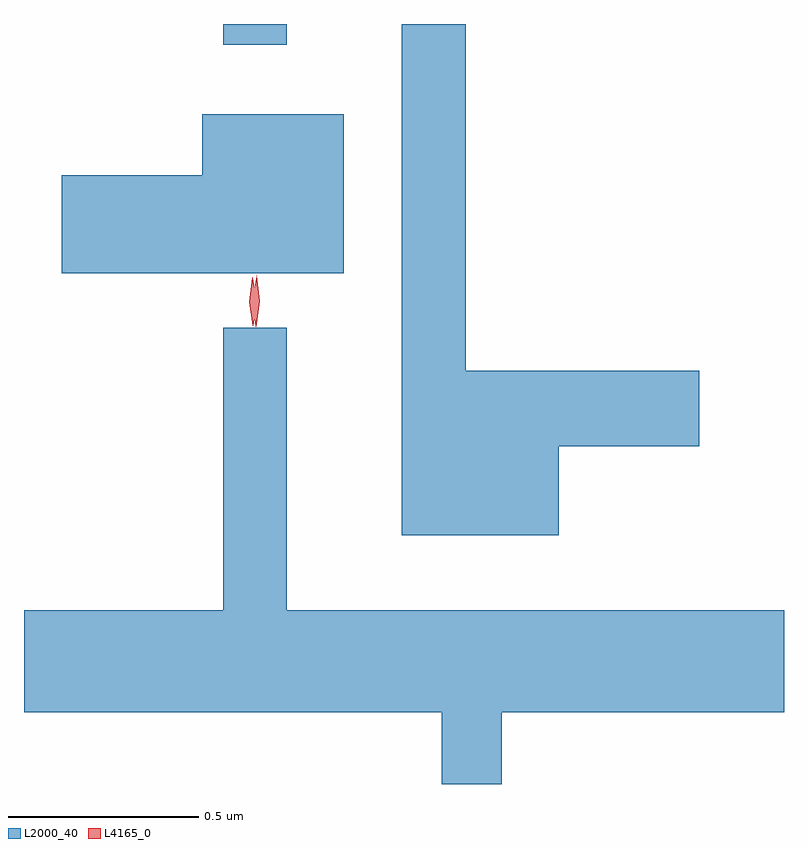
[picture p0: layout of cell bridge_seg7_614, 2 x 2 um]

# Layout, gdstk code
import gdstk
lib = gdstk.Library(unit=1e-6, precision=1e-09)
def R(c, l, rs):  # rectangles x0, y0, x1, y1
    for r in rs: c.add(gdstk.rectangle(r[:2], r[2:], *l))
def P(c, l, *ps):  # polygons
    for p in ps: c.add(gdstk.Polygon(p, *l))
L2000_40 = (2000, 40)
L4165_0 = (4165, 0)

bridge_seg7_614 = lib.new_cell('bridge_seg7_614')
R(bridge_seg7_614, L2000_40, [(635.671,1738.273,635.839,1738.327)])
P(bridge_seg7_614, L2000_40, [(636.554,1737.216),(636.924,1737.216),(636.924,1737.414),(636.309,1737.414),(636.309,1738.327),(636.141,1738.327),(636.141,1736.981),(636.554,1736.981)],
  [(635.989,1738.089),(635.616,1738.089),(635.616,1737.929),(635.246,1737.929),(635.246,1737.671),(635.989,1737.671)],
  [(636.404,1736.516),(637.147,1736.516),(637.147,1736.784),(635.839,1736.784),(635.839,1737.528),(635.671,1737.528),(635.671,1736.784),(635.147,1736.784),(635.147,1736.516),(636.246,1736.516),(636.246,1736.327),(636.404,1736.327)])
P(bridge_seg7_614, L4165_0, [(635.749,1737.533),(635.74,1737.596),(635.748,1737.659),(635.749,1737.66),(635.749,1737.659),(635.759,1737.596),(635.75,1737.533),(635.75,1737.533)],
  [(635.757,1737.53),(635.749,1737.598),(635.759,1737.665),(635.759,1737.666),(635.76,1737.665),(635.768,1737.598),(635.758,1737.53),(635.758,1737.53)])

lib.write_gds('bridge_seg7_614.gds')
